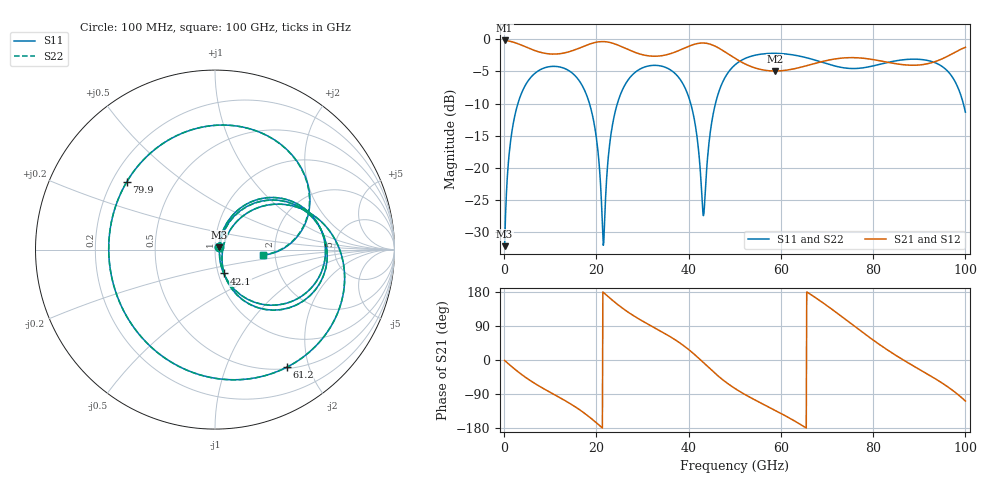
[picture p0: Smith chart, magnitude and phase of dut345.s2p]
! Touchstone file exported from HFSS 2026.1.0
!  File:  C:/ffzhzh/LocalFiles/Ansys_Project_Files/temp_train_TSV_RDL_345_1783707513_45164.aedt
!  Generated:  02:26:08 AM Jul 11, 2026
!  Design:  TSV_RDL
!  Project:  temp_train_TSV_RDL_345_1783707513_45164
! Variables:
!  h_bsmrdl = 2.2um
!  h_ox = 20um
!  h_rdl = 5um
!  h_sub = 51.81um
!  h_tmrdl = 3.02um
!  h_tsv = 51.81um
!  h_via = 3um
!  l_bsmrdl = 504.37um
!  l_sub = 2983.33um
!  l_tmrdl = 235.23um
!  m_sub = 200um
!  pitch = 57.18um
!  r_tsv = 13.04um
!  s_tmrdl = 10um
!  w_bsmrdl = 14.54um
!  w_sub = 500um
!  w_tmrdl = 28.56um
!  x_tsv_center1 = 249.51um
!  x_tsv_center2 = 768.42um
!  x_tsv_center3 = 1032.21um
!  x_tsv_center4 = 1551.12um
!  x_tsv_center5 = 1814.91um
!  x_tsv_center6 = 2333.82um
# GHz S MA R 50.000000
! Terminal data exported
! Port[1] = TM_RDL1_1_T1
! Port[2] = TM_RDL5_1_T1
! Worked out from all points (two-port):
!   1000 points, 100 MHz to 100 GHz, reference 50 ohm
!   highest |S21| = -0.19 dB at 100 MHz (marker M1); lowest = -4.9 dB at 58.7 GHz (marker M2)
!   |S21| within 3 dB of the highest: start of sweep to 50.55 GHz; 70.71 GHz to 80.21 GHz (9.494 GHz wide, 12.6 % of centre)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
!   lowest |S11| = -32.2 dB at 100 MHz (marker M3), VSWR 1.05, Z = 52.2 + j1.26 ohm
!   |S11| at or under -10 dB: start of sweep to 2.98 GHz; 18.5 GHz to 24.54 GHz (6.043 GHz wide, 28.1 % of centre); 40.45 GHz to 45.81 GHz (5.365 GHz wide, 12.4 % of centre)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
!   |S22| runs from -32.2 to -2.2 dB; largest |S21 - S12| = 1.7e-14
!   S11 on the Smith chart (normalised r, x): 100 MHz: 1.04, +0.03; 42.1 GHz: 1.07, -0.29; 61.2 GHz: 0.52, -1.66; 79.9 GHz: 0.26, +0.32; 100 GHz: 1.73, -0.11
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0.1  0.02465 29.2  0.9786 -1.1  0.9786 -1.1  0.02465 29.2
! Gamma 0 0 0 0
! Port Impedance 50 0 50 0
1.6  0.1831 64.9  0.9577 -17.0  0.9577 -17.0  0.1831 64.9
4.5  0.4328 42.1  0.8766 -44.6  0.8766 -44.6  0.4328 42.1
10.6  0.6157 -0.8  0.7667 -89.5  0.7667 -89.5  0.6157 -0.7
16.8  0.4447 -44.2  0.868 -135.0  0.868 -135.0  0.4447 -44.1
19.7  0.2018 -67.2  0.9435 -162.6  0.9435 -162.6  0.2019 -66.9
21.5  0.02504 -8.8  0.9589 178.4  0.9589 178.4  0.0263 -8.4
25  0.3549 48.2  0.8902 142.7  0.8902 142.7  0.355 48.0
33.4  0.6247 -10.7  0.7397 79.7  0.7397 79.7  0.6248 -10.9
39.2  0.42 -51.6  0.8566 35.2  0.8566 35.2  0.42 -51.8
42.1  0.1427 -68.8  0.9289 5.6  0.9289 5.6  0.1426 -69.1
43.3  0.04405 5.7  0.9347 -8.0  0.9347 -8.0  0.04344 5.8
45.7  0.3044 46.5  0.8851 -34.9  0.8851 -34.9  0.3044 46.5
50.1  0.6347 11.3  0.7085 -75.6  0.7085 -75.6  0.6348 11.2
58.7  0.7771 -43.0  0.5666 -132.6  0.5666 -132.6  0.7772 -43.1
61.2  0.7676 -58.7  0.5752 -148.8  0.5752 -148.8  0.7678 -58.8
66.7  0.7003 -98.0  0.6389 171.0  0.6389 171.0  0.7005 -98.1
74.1  0.5967 -163.3  0.7177 106.2  0.7177 106.2  0.5968 -163.2
79.9  0.6194 142.7  0.6957 53.5  0.6957 53.5  0.6193 143.0
83.4  0.663 113.1  0.6597 24.2  0.6597 24.2  0.6628 113.5
93.7  0.6511 40.1  0.6753 -51.2  0.6753 -51.2  0.6509 40.6
100  0.2715 -6.5  0.8657 -108.2  0.8657 -108.2  0.2713 -6.1
